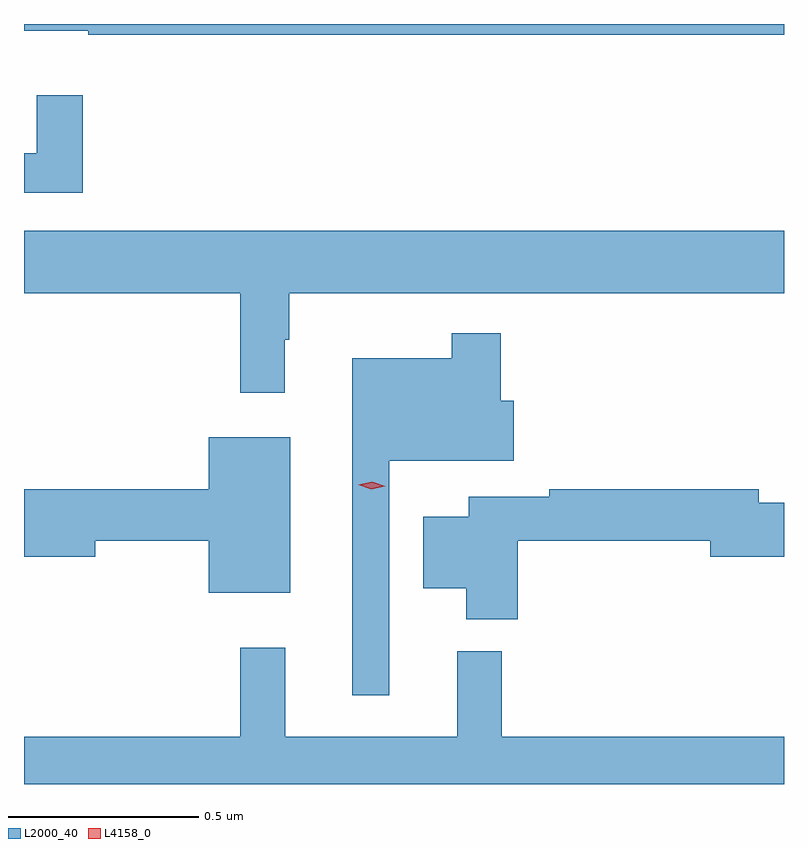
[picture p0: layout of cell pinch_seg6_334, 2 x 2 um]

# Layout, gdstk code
import gdstk
lib = gdstk.Library(unit=1e-6, precision=1e-09)
def P(c, l, *ps):  # polygons
    for p in ps: c.add(gdstk.Polygon(p, *l))
L2000_40 = (2000, 40)
L4158_0 = (4158, 0)

pinch_seg6_334 = lib.new_cell('pinch_seg6_334')
P(pinch_seg6_334, L2000_40, [(747.178,984.008),(745.178,984.008),(745.178,983.99),(745.347,983.99),(745.347,983.98),(747.178,983.98)],
  [(745.333,983.821),(745.211,983.821),(745.211,983.668),(745.178,983.668),(745.178,983.564),(745.333,983.564)],
  [(745.864,983.177),(745.876,983.177),(745.876,983.3),(747.178,983.3),(747.178,983.464),(745.178,983.464),(745.178,983.3),(745.747,983.3),(745.747,983.037),(745.864,983.037)],
  [(746.139,982.859),(746.467,982.859),(746.467,983.017),(746.432,983.017),(746.432,983.194),(746.304,983.194),(746.304,983.128),(746.042,983.128),(746.042,982.242),(746.139,982.242)],
  [(745.879,982.921),(745.664,982.921),(745.664,982.784),(745.178,982.784),(745.178,982.606),(745.366,982.606),(745.366,982.648),(745.664,982.648),(745.664,982.511),(745.879,982.511)],
  [(746.477,982.648),(746.984,982.648),(746.984,982.606),(747.178,982.606),(747.178,982.748),(747.112,982.748),(747.112,982.784),(746.56,982.784),(746.56,982.764),(746.348,982.764),(746.348,982.711),(746.228,982.711),(746.228,982.523),(746.342,982.523),(746.342,982.442),(746.477,982.442)],
  [(747.178,982.132),(746.435,982.132),(746.435,982.357),(746.318,982.357),(746.318,982.132),(745.865,982.132),(745.865,982.366),(745.747,982.366),(745.747,982.132),(745.178,982.132),(745.178,982.008),(747.178,982.008)])
P(pinch_seg6_334, L4158_0, [(746.092,982.784),(746.058,982.796),(746.057,982.796),(746.058,982.796),(746.094,982.804),(746.128,982.792),(746.129,982.792),(746.128,982.792)])

lib.write_gds('pinch_seg6_334.gds')
